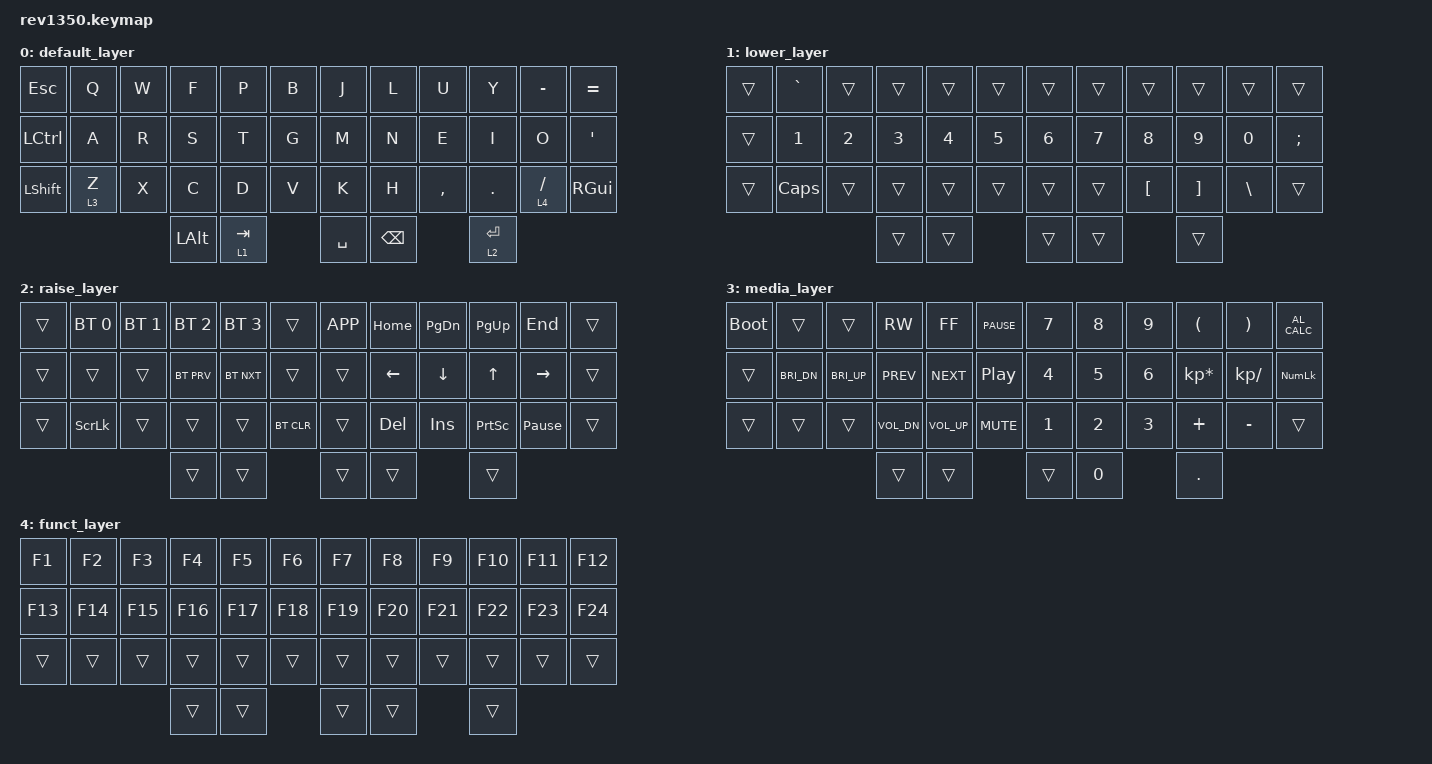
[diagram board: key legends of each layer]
/*
 * Copyright (c) 2020 The ZMK Contributors
 *
 * SPDX-License-Identifier: MIT
 */

#include <behaviors.dtsi>
#include <dt-bindings/zmk/keys.h>
#include <dt-bindings/zmk/bt.h>
#include <dt-bindings/zmk/rgb.h>

#define DEFAULT 0
#define LOWER   1
#define RAISE   2
#define MEDIA   3
#define FUNCT   4

/ {
        keymap {
                compatible = "zmk,keymap";

                default_layer {
// -------------------------------------------------------------------------------------
// |  ESC |  Q  |  W  |  F  |  P  |  B  |   |  J  |  L   |  U  |  Y  |  -  |    =     |
// | CTRL |  A  |  R  |  S  |  T  |  G  |   |  M  |  N   |  E  |  I  |  O  |    '     |
// | SHFT |  Z  |  X  |  C  |  D  |  V  |   |  K  |  H   |  ,  |  .  |  /  |    OS    |
//                         | LWR TAB | ALT | SPC | BKSP  | RSE RET |
                        bindings = <
   &kp ESC   &kp Q &kp W &kp F &kp P &kp B   &kp J &kp L &kp U &kp Y &kp MINUS &kp EQUAL
   &kp LCTRL &kp A &kp R &kp S &kp T &kp G   &kp M &kp N &kp E &kp I &kp O &kp SQT
   &kp LSHFT &lt 3 Z &kp X &kp C &kp D &kp V   &kp K &kp H &kp COMMA &kp DOT &lt 4 FSLH &kp RGUI
                       &kp LALT &lt 1 TAB &kp SPACE &kp BSPC &lt 2 RET
                        >;
                };

                lower_layer {
// ----------------------------------------------------------------------------------
// |    |  `  |     |     |     |     |   |     |     |     |     |     |         |
// |    |  1  |  2  |  3  |  4  |  5  |   | 6   |  7  | 8   |  9  |  0  |     ;   |
// |    | CAPS|     |     |     |     |   |     |     |  [  | ]   |  \  |         |
//                       |     |     |    |     |     |
                        bindings = <
   &trans &kp GRAVE &trans  &trans &trans &trans   &trans &trans &trans &trans &trans &trans
   &trans &kp N1 &kp N2 &kp N3 &kp N4 &kp N5   &kp N6 &kp N7 &kp N8 &kp N9 &kp N0 &kp SEMI
   &trans &kp CLCK &trans &trans &trans &trans   &trans &trans &kp LBKT &kp RBKT &kp BSLH &trans
                                 &trans &trans &trans &trans &trans
                        >;
                };

                raise_layer {
// -----------------------------------------------------------------------------------------
// |    | BT1 | BT2 |  BT3|  BT4|     | | MENU | HOME | PGDN | PGUP | END |      |
// |    |     |     |BTPRV|BTNXT|     | |      | LEFT | DOWN |  UP  |RIGHT|      |
// |    | SLCK|     |     |     |BTCLR| |      | DEL  |  INS | PSCRN|PAUSE|      |
//                          |    |   |    |    |    |
                        bindings = <
   &trans &bt BT_SEL 0 &bt BT_SEL 1 &bt BT_SEL 2  &bt BT_SEL 3  &trans          &kp K_APP  &kp HOME  &kp PG_DN &kp PG_UP  &kp END  &trans 
   &trans &trans &trans &bt BT_PRV &bt BT_NXT &trans                            &trans  &kp LEFT  &kp DOWN  &kp UP  &kp RIGHT &trans 
   &trans &kp SLCK &trans &trans &trans &bt BT_CLR                              &trans  &kp DEL  &kp INS  &kp PSCRN &kp PAUSE_BREAK &trans
                                                 &trans &trans &trans &trans &trans
                        >;
                };

                media_layer {
// -----------------------------------------------------------------------------
// | BOOT|     |     | RW  | FF  |PAUSE|   |   7  | 8   |  9  |  (  |  )  | CALC|
// |     |BRIDN|BRIUP|PREV |NEXT |P&P  |   |   4  |   5 |   6 |   * |  /  | NUM |
// |     |     |     |VOLUP|VOLDN|MUTE |   |   1  |  2  |   3 |   + |  -  |     |
//                        |     |     |     |   O  |  .  |
                        bindings = <
   &bootloader &trans  &trans   &kp C_RW   &kp C_FF   &kp C_PAUSE                &kp N7  &kp N8 &kp N9 &kp LPAR &kp RPAR &kp C_AL_CALC
   &trans &kp C_BRI_DN &kp C_BRI_UP &kp C_PREV &kp C_NEXT &kp C_PP          &kp N4  &kp N5 &kp N6 &kp KP_ASTERISK &kp KP_SLASH &kp KP_NLCK
   &trans  &trans  &trans   &kp C_VOL_DN   &kp C_VOL_UP   &kp C_MUTE        &kp N1  &kp N2 &kp N3 &kp PLUS &kp MINUS &trans
                                   &trans   &trans   &trans   &kp N0   &kp DOT
                        >;
                };

                funct_layer {
// -----------------------------------------------------------------------------
// | F1  | F2  | F3  |  F4 |  F5 | F6  |   | F7  | F8  | F9  |  F10| F11 | F12 |
// | F13 | F14 | F15 | F16 | F17 | F18 |   | F19 | F20 | F21 | F22 | F23 | F24 |
// |     |     |     |     |     |     |   |     |     |     |     |     |     |
//                        |     |     |     |     |     |
                        bindings = <
   &kp F1 &kp F2  &kp F3   &kp F4   &kp F5   &kp F6      &kp F7    &kp F8    &kp F9    &kp F10    &kp F11    &kp F12
   &kp F13  &kp F14  &kp F15   &kp F16   &kp F17   &kp F18      &kp F19    &kp F20    &kp F21    &kp F22    &kp F23    &kp F24
   &trans  &trans  &trans   &trans   &trans   &trans     &trans    &trans    &trans    &trans   &trans   &trans
                                  &trans   &trans   &trans   &trans   &trans
                        >;
                };
        };
};
